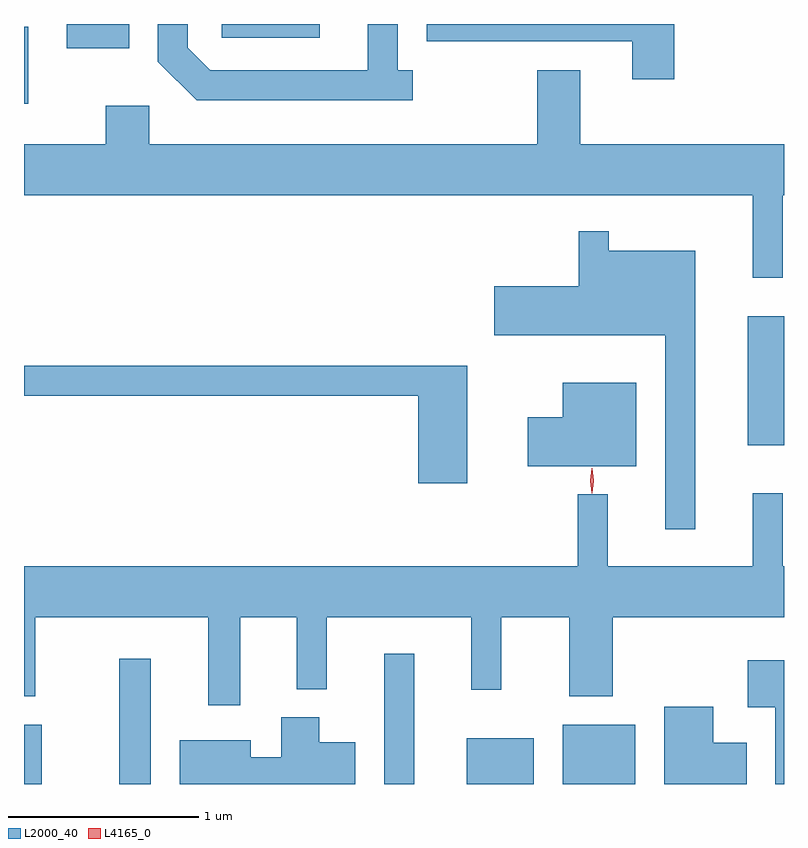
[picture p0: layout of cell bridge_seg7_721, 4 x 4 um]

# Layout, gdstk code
import gdstk
lib = gdstk.Library(unit=1e-6, precision=1e-09)
def R(c, l, rs):  # rectangles x0, y0, x1, y1
    for r in rs: c.add(gdstk.rectangle(r[:2], r[2:], *l))
def P(c, l, *ps):  # polygons
    for p in ps: c.add(gdstk.Polygon(p, *l))
L2000_40 = (2000, 40)
L4165_0 = (4165, 0)

bridge_seg7_721 = lib.new_cell('bridge_seg7_721')
R(bridge_seg7_721, L2000_40, [(598.731,1746.738,598.824,1747.049), (599.231,1746.738,599.399,1747.398), (600.626,1746.738,600.784,1747.423), (601.061,1746.738,601.414,1746.979), (601.566,1746.738,601.949,1747.049), (602.541,1748.521,602.731,1749.199), (598.731,1750.318,598.754,1750.724), (598.956,1750.611,599.284,1750.738), (599.771,1750.666,600.288,1750.738)])
P(bridge_seg7_721, L2000_40, [(602.154,1750.738),(600.851,1750.738),(600.851,1750.646),(601.931,1750.646),(601.931,1750.446),(602.154,1750.446)],
  [(600.778,1750.494),(600.699,1750.494),(600.699,1750.738),(600.541,1750.738),(600.541,1750.494),(599.712,1750.494),(599.594,1750.612),(599.594,1750.738),(599.436,1750.738),(599.436,1750.539),(599.639,1750.336),(600.778,1750.336)],
  [(602.724,1749.836),(602.731,1749.836),(602.731,1750.104),(601.659,1750.104),(601.659,1750.494),(601.431,1750.494),(601.431,1750.104),(599.389,1750.104),(599.389,1750.309),(599.161,1750.309),(599.161,1750.104),(598.731,1750.104),(598.731,1749.836),(602.566,1749.836),(602.566,1749.403),(602.724,1749.403)],
  [(602.264,1749.544),(601.809,1749.544),(601.809,1749.648),(601.651,1749.648),(601.651,1749.359),(601.206,1749.359),(601.206,1749.101),(602.106,1749.101),(602.106,1748.078),(602.264,1748.078)],
  [(601.064,1748.939),(598.731,1748.939),(598.731,1748.781),(600.806,1748.781),(600.806,1748.321),(601.064,1748.321)],
  [(601.954,1748.849),(601.566,1748.849),(601.566,1748.669),(601.381,1748.669),(601.381,1748.411),(601.954,1748.411)],
  [(599.869,1747.616),(600.166,1747.616),(600.166,1747.238),(600.324,1747.238),(600.324,1747.616),(601.086,1747.616),(601.086,1747.233),(601.244,1747.233),(601.244,1747.616),(601.601,1747.616),(601.601,1747.201),(601.829,1747.201),(601.829,1747.616),(602.731,1747.616),(602.731,1747.884),(602.724,1747.884),(602.724,1748.268),(602.566,1748.268),(602.566,1747.884),(601.804,1747.884),(601.804,1748.263),(601.646,1748.263),(601.646,1747.884),(598.731,1747.884),(598.731,1747.201),(598.789,1747.201),(598.789,1747.616),(599.701,1747.616),(599.701,1747.153),(599.869,1747.153)],
  [(602.731,1747.389),(602.541,1747.389),(602.541,1747.141),(602.686,1747.141),(602.686,1746.738),(602.731,1746.738)],
  [(602.534,1746.954),(602.359,1746.954),(602.359,1747.144),(602.101,1747.144),(602.101,1746.738),(602.534,1746.738)],
  [(600.474,1746.959),(600.284,1746.959),(600.284,1747.089),(600.086,1747.089),(600.086,1746.879),(599.924,1746.879),(599.924,1746.969),(599.551,1746.969),(599.551,1746.738),(600.474,1746.738)])
P(bridge_seg7_721, L4165_0, [(601.72,1748.269),(601.711,1748.334),(601.72,1748.399),(601.72,1748.4),(601.721,1748.399),(601.73,1748.334),(601.721,1748.269),(601.721,1748.269)])

lib.write_gds('bridge_seg7_721.gds')
